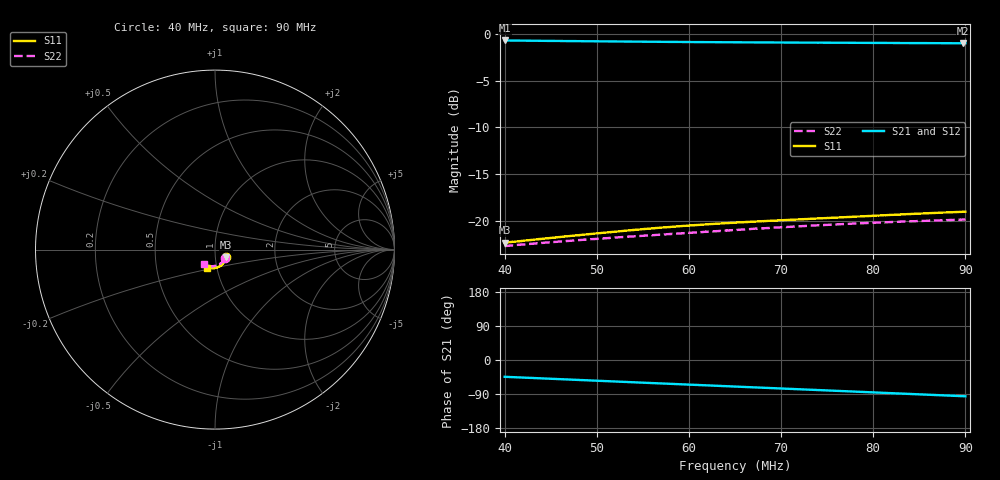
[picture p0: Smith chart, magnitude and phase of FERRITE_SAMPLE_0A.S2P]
!Agilent Technologies,E5061B,MY49102235,A.02.00
!Date: Mon Jul 03 10:34:21 2023
!Data & Calibration Information:
!Freq	S11:SOLT2(ON)	S21:SOLT2(ON)	S12:SOLT2(ON)	S22:SOLT2(ON)
# Hz S RI R 50
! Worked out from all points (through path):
!   1600 points, 40 MHz to 90 MHz, reference 50 ohm
!   highest |S21| = -0.67 dB at 40.03 MHz (marker M1); lowest = -1.0 dB at 89.78 MHz (marker M2)
!   group delay of S21, straight-line fit = 2.86 ns
!   lowest |S11| = -22.4 dB at 40 MHz (marker M3), VSWR 1.16, Z = 56.4 - j4.96 ohm
!   |S11| at or under -10 dB: start of sweep to end of sweep
!   |S22| runs from -22.7 to -19.9 dB; largest |S21 - S12| = 0.0012
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4e7  0.0624 -0.0437  0.6621 -0.6464  0.6622 -0.6455  0.0569 -0.0458
4.003127e7  0.0624 -0.0438  0.6618 -0.6467  0.6618 -0.6457  0.0568 -0.0458
4.087555e7  0.062 -0.0458  0.6509 -0.6561  0.6514 -0.6553  0.056 -0.0479
4.465916e7  0.0588 -0.0548  0.6019 -0.6963  0.6024 -0.6957  0.0514 -0.0565
4.834897e7  0.0547 -0.0638  0.5524 -0.7322  0.5525 -0.7318  0.0457 -0.0643
5.050657e7  0.0517 -0.0687  0.5224 -0.7514  0.5226 -0.751  0.0418 -0.0685
5.253909e7  0.0485 -0.0733  0.4936 -0.7686  0.4938 -0.7684  0.0379 -0.0722
5.666667e7  0.041 -0.0818  0.4336 -0.8  0.4338 -0.7998  0.0291 -0.0787
6.073171e7  0.0326 -0.0889  0.3734 -0.8267  0.3733 -0.8263  0.0196 -0.0841
6.288931e7  0.0277 -0.0921  0.3408 -0.8392  0.3405 -0.8389  0.0142 -0.0867
6.501563e7  0.0226 -0.0949  0.308 -0.8506  0.3083 -0.8498  0.00855 -0.0887
6.898687e7  0.0126 -0.099  0.2467 -0.8682  0.2466 -0.8675  -0.00237 -0.0914
7.148843e7  0.006 -0.1012  0.2073 -0.8773  0.2076 -0.8768  -0.00953 -0.0925
7.33646e7  0.000758 -0.1025  0.1772 -0.8832  0.1778 -0.8824  -0.0149 -0.0929
7.570982e7  -0.00569 -0.1034  0.1399 -0.8888  0.1403 -0.8882  -0.0216 -0.0929
7.752345e7  -0.0107 -0.1042  0.1105 -0.892  0.1112 -0.8916  -0.0268 -0.0924
7.971232e7  -0.0168 -0.1047  0.0752 -0.8947  0.0759 -0.8944  -0.033 -0.0914
8.16823e7  -0.0222 -0.1049  0.0435 -0.8961  0.0442 -0.896  -0.0386 -0.0903
8.358974e7  -0.0274 -0.1047  0.0126 -0.8964  0.0133 -0.896  -0.0439 -0.0888
8.584115e7  -0.0336 -0.1044  -0.0235 -0.895  -0.0234 -0.8949  -0.0497 -0.0865
8.978111e7  -0.0441 -0.1026  -0.0864 -0.8895  -0.0865 -0.8896  -0.0597 -0.0819
9e7  -0.0447 -0.1024  -0.0898 -0.8893  -0.0898 -0.8892  -0.0603 -0.0816
